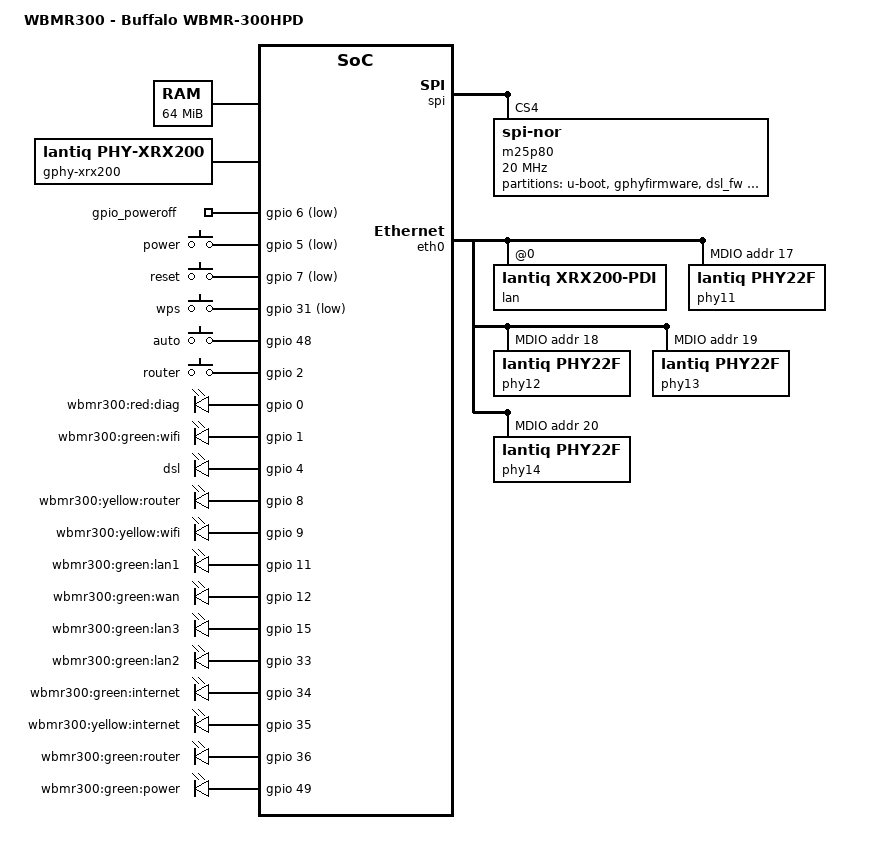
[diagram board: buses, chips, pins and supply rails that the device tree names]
/dts-v1/;

/include/ "vr9.dtsi"

/ {
	model = "WBMR300 - Buffalo WBMR-300HPD";

	chosen {
		bootargs = "console=ttyLTQ0,115200 init=/etc/preinit";

		leds {
			boot = &power_g;
			failsafe = &diag_r;
			running = &power_g;

			dsl = &dsl;
			internet = &router_g;
			wifi = &wifi_g;
		};
	};

	memory@0 {
		reg = <0x0 0x4000000>;
	};

	fpi@10000000 {
		gpio: pinmux@E100B10 {
			pinctrl-names = "default";
			pinctrl-0 = <&state_default>;

			state_default: pinmux {
				mdio {
					lantiq,groups = "mdio";
					lantiq,function = "mdio";
				};
				phy-rst {
					lantiq,pins = "io42";
					lantiq,pull = <0>;
					lantiq,open-drain = <0>;
					lantiq,output = <1>;
				};
				pcie-rst {
					lantiq,pins = "io38";
					lantiq,pull = <0>;
					lantiq,output = <1>;
				};
			};
			pins_spi_default: pins_spi_default {
				spi_in {
					lantiq,groups = "spi_di";
					lantiq,function = "spi";
				};
				spi_out {
					lantiq,groups = "spi_do", "spi_clk",
						"spi_cs4";
					lantiq,function = "spi";
					lantiq,output = <1>;
				};
			};
		};

		ifxhcd@E101000 {
			status = "okay";
			gpios = <&gpio 33 0>;
			lantiq,portmask = <0x3>;
		};

		ifxhcd@E106000 {
			status = "okay";
			gpios = <&gpio 33 0>;
		};
	};

	gphy-xrx200 {
		compatible = "lantiq,phy-xrx200";
		firmware = "lantiq/vr9_phy22f_a2x.bin";
		phys = [ 00 01 ];
	};

	gpio_poweroff {
		compatible = "gpio-poweroff";
		gpios = <&gpio 6 1>;
	};

	gpio-keys-polled {
		compatible = "gpio-keys-polled";
		#address-cells = <1>;
		#size-cells = <0>;
		poll-interval = <100>;

		power {
			label = "power";
			gpios = <&gpio 5 1>;
			linux,code = <0x74>;
		};

		reset {
			label = "reset";
			gpios = <&gpio 7 1>;
			linux,code = <0x198>;
		};

		wps {
			label = "wps";
			gpios = <&gpio 31 1>;
			linux,code = <0x211>;
		};

		auto {
			label = "auto";
			gpios = <&gpio 48 0>;
			linux,code = <0x100>;
			linux,input-type = <5>; /* EV_SW */
		};

		router {
			label = "router";
			gpios = <&gpio 2 0>;
			linux,code = <0x100>;
			linux,input-type = <5>; /* EV_SW */
		};
	};

	gpio-leds {
		compatible = "gpio-leds";

		diag_r: diag_r {
			label = "wbmr300:red:diag";
			gpios = <&gpio 0 0>;
			default_state = "off";
		};

		wifi_g: wifi_g {
			label = "wbmr300:green:wifi";
			gpios = <&gpio 1 0>;
		};

		dsl: dsl {
			label = "dsl";
			gpios = <&gpio 4 0>;
		};

		router_y: router_y {
			label = "wbmr300:yellow:router";
			gpios = <&gpio 8 0>;
		};

		wifi_y: wifi_y {
			label = "wbmr300:yellow:wifi";
			gpios = <&gpio 9 0>;
		};

		lan1: lan1 {
			label = "wbmr300:green:lan1";
			gpios = <&gpio 11 0>;
		};

		wan: wan {
			label = "wbmr300:green:wan";
			gpios = <&gpio 12 0>;
		};

		lan3: lan3 {
			label = "wbmr300:green:lan3";
			gpios = <&gpio 15 0>;
		};

		lan2: lan2 {
			label = "wbmr300:green:lan2";
			gpios = <&gpio 33 0>;
		};

		internet_g: internet_g {
			label = "wbmr300:green:internet";
			gpios = <&gpio 34 0>;
		};

		internet_y: internet_y {
			label = "wbmr300:yellow:internet";
			gpios = <&gpio 35 0>;
		};

		router_g: router_g {
			label = "wbmr300:green:router";
			gpios = <&gpio 36 0>;
		};

		power_g: power_g {
			label = "wbmr300:green:power";
			gpios = <&gpio 49 0>;
		};
	};
};

&spi {
	pinctrl-names = "default";
	pinctrl-0 = <&pins_spi_default>;

	status = "ok";
	m25p80@4 {
		#address-cells = <1>;
		#size-cells = <1>;
		compatible = "jedec,spi-nor";
		reg = <4 0>;
		spi-max-frequency = <20000000>;

		partition@0 {
			reg = <0x0 0x10000>;
			label = "u-boot";
			read-only;
		};

		partition@10000 {
			reg = <0x10000 0x10000>;
			label = "gphyfirmware";
			read-only;
		};

		partition@20000 {
			reg = <0x20000 0x80000>;
			label = "dsl_fw";
		};

		partition@de0000 {
			reg = <0xa0000 0xf40000>;
			label = "firmware";
		};

		partition@fe0000 {
			reg = <0xfe0000 0x10000>;
			label = "sysconfig";
			read-only;
		};

		partition@ff0000 {
			reg = <0xff0000 0x2000>;
			label = "ubootconfig";
		};

		partition@ff3000 {
			reg = <0xff3000 0x2000>;
			label = "board_config";
			read-only;
		};
	};
};

&eth0 {
	lan: interface@0 {
		compatible = "lantiq,xrx200-pdi";
		#address-cells = <1>;
		#size-cells = <0>;
		reg = <0>;
		lantiq,switch;

		ethernet@1 {
			compatible = "lantiq,xrx200-pdi-port";
			reg = <4>;
			phy-mode = "mii";
			phy-handle = <&phy13>;
		};
		ethernet@2 {
			compatible = "lantiq,xrx200-pdi-port";
			reg = <5>;
			phy-mode = "mii";
			phy-handle = <&phy14>;
		};
		ethernet@3 {
			compatible = "lantiq,xrx200-pdi-port";
			reg = <2>;
			phy-mode = "mii";
			phy-handle = <&phy11>;
		};
		ethernet@4 {
			compatible = "lantiq,xrx200-pdi-port";
			reg = <3>;
			phy-mode = "mii";
			phy-handle = <&phy12>;
		};
	};

	mdio@0 {
		#address-cells = <1>;
		#size-cells = <0>;
		compatible = "lantiq,xrx200-mdio";
		phy11: ethernet-phy@11 {
			reg = <0x11>;
			compatible = "lantiq,phy22f", "ethernet-phy-ieee802.3-c22";
		};
		phy12: ethernet-phy@12 {
			reg = <0x12>;
			compatible = "lantiq,phy22f", "ethernet-phy-ieee802.3-c22";
		};
		phy13: ethernet-phy@13 {
			reg = <0x13>;
			compatible = "lantiq,phy22f", "ethernet-phy-ieee802.3-c22";
		};
		phy14: ethernet-phy@14 {
			reg = <0x14>;
			compatible = "lantiq,phy22f", "ethernet-phy-ieee802.3-c22";
		};
	};
};
